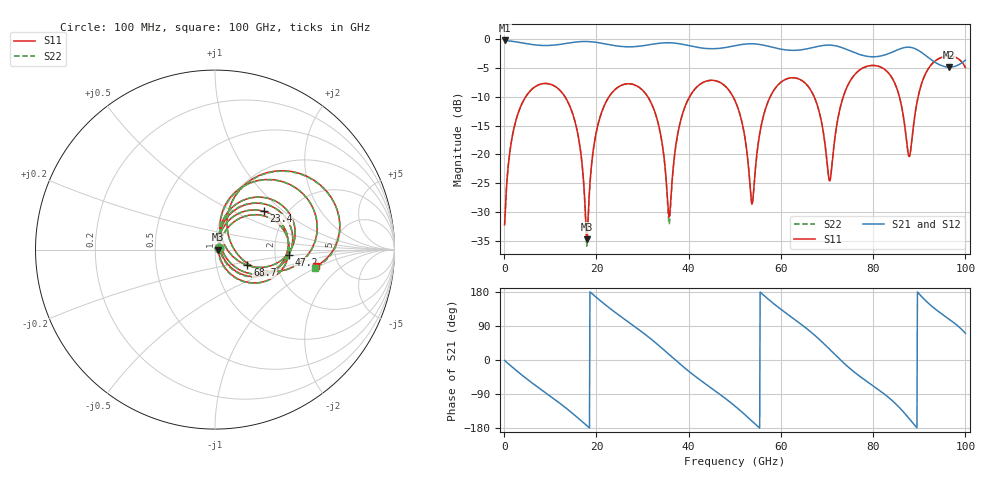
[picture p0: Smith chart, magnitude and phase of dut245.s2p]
! Touchstone file exported from HFSS 2026.1.0
!  File:  C:/ffzhzh/LocalFiles/Ansys_Project_Files/temp_train_TSV_RDL_245_1783668372_26216.aedt
!  Generated:  03:35:59 PM Jul 10, 2026
!  Design:  TSV_RDL
!  Project:  temp_train_TSV_RDL_245_1783668372_26216
! Variables:
!  h_bsmrdl = 2.26um
!  h_ox = 20um
!  h_rdl = 5um
!  h_sub = 70.7um
!  h_tmrdl = 2.05um
!  h_tsv = 70.7um
!  h_via = 3um
!  l_bsmrdl = 253.54um
!  l_sub = 3061.01um
!  l_tmrdl = 447.13um
!  m_sub = 200um
!  pitch = 43.08um
!  r_tsv = 13.74um
!  s_tmrdl = 10um
!  w_bsmrdl = 13.68um
!  w_sub = 500um
!  w_tmrdl = 23.61um
!  x_tsv_center1 = 458.935um
!  x_tsv_center2 = 726.155um
!  x_tsv_center3 = 1196.895um
!  x_tsv_center4 = 1464.115um
!  x_tsv_center5 = 1934.855um
!  x_tsv_center6 = 2202.075um
# GHz S MA R 50.000000
! Terminal data exported
! Port[1] = TM_RDL1_1_T1
! Port[2] = TM_RDL5_1_T1
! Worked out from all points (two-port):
!   1000 points, 100 MHz to 100 GHz, reference 50 ohm
!   highest |S21| = -0.20 dB at 100 MHz (marker M1); lowest = -4.8 dB at 96.5 GHz (marker M2)
!   |S21| within 3 dB of the highest: start of sweep to 92.02 GHz
!   lowest |S11| = -34.7 dB at 17.9 GHz (marker M3), VSWR 1.04, Z = 51.9 - j0.0673 ohm
!   |S11| at or under -10 dB: 13.2 GHz to 22.72 GHz (9.512 GHz wide, 53 % of centre); 31.15 GHz to 40.19 GHz (9.036 GHz wide, 25.3 % of centre); 49.65 GHz to 57.67 GHz (8.022 GHz wide, 14.9 % of centre)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
!   |S22| runs from -35.9 to -2.9 dB; largest |S21 - S12| = 9.1e-12
!   S11 on the Smith chart (normalised r, x): 100 MHz: 1.05, +0.02; 23.4 GHz: 1.52, +0.74; 47.2 GHz: 2.40, -0.17; 68.7 GHz: 1.41, -0.26; 100 GHz: 3.36, -0.92
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0.1  0.02453 21.1  0.9772 -1.1  0.9772 -1.1  0.02453 21.1
! Gamma 0 0 0 0
! Port Impedance 50 0 50 0
2.3  0.1807 56.3  0.954 -24.3  0.954 -24.3  0.1808 56.3
6.7  0.3871 20.2  0.8942 -66.3  0.8942 -66.3  0.3872 20.1
16.8  0.08975 -62.0  0.9557 -161.3  0.9557 -161.3  0.08941 -63.6
17.9  0.01838 -2.0  0.9568 -172.9  0.9568 -172.9  0.01598 -3.5
20  0.1579 66.9  0.94 165.1  0.94 165.1  0.1577 67.6
23.4  0.3445 38.3  0.8884 131.8  0.8884 131.8  0.3444 38.4
33.4  0.1861 -44.3  0.9218 39.6  0.9218 39.6  0.1859 -45.3
35.8  0.02866 15.7  0.9335 14.1  0.9335 14.1  0.02477 15.6
39.5  0.2778 59.2  0.8909 -24.6  0.8909 -24.6  0.2773 60.0
47.2  0.4134 -4.0  0.8396 -94.5  0.8396 -94.5  0.4134 -3.8
50.1  0.2903 -28.0  0.8806 -122.2  0.8806 -122.2  0.2904 -27.9
53.8  0.03742 24.2  0.9146 -162.0  0.9146 -162.0  0.03712 24.1
58.2  0.3467 55.9  0.8523 151.0  0.8523 151.0  0.3465 56.0
66.7  0.3485 -13.0  0.844 71.8  0.844 71.8  0.3487 -12.9
68.7  0.2008 -26.0  0.8784 50.2  0.8784 50.2  0.2013 -25.8
70.6  0.05888 29.0  0.8905 27.8  0.8905 27.8  0.06013 28.7
75  0.4338 60.6  0.7939 -22.7  0.7939 -22.7  0.4338 60.3
83.4  0.5059 -5.0  0.7524 -99.4  0.7524 -99.4  0.5061 -5.3
87.8  0.09605 21.7  0.8538 -154.5  0.8538 -154.5  0.09584 21.2
96.5  0.7154 17.2  0.5732 107.4  0.5732 107.4  0.715 16.7
100  0.5686 -9.4  0.6591 70.4  0.6591 70.4  0.5673 -10.2
